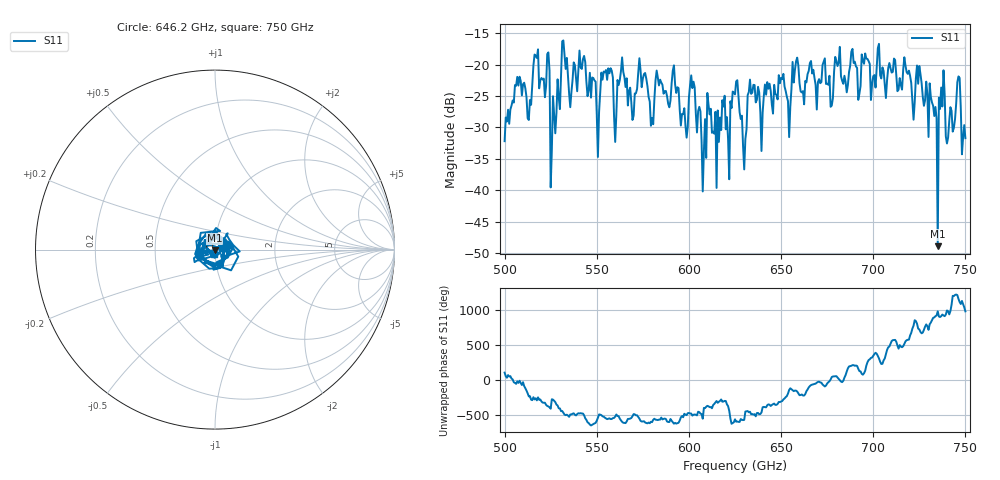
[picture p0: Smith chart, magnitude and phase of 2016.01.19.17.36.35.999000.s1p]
!Created with skrf (http://scikit-rf.org).
# GHz S RI R 50.0
!freq ReS11 ImS11
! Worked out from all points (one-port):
!   401 points, 500 GHz to 750 GHz, reference 50 ohm
!   lowest |S11| = -48.9 dB at 735 GHz (marker M1), VSWR 1.01, Z = 50 - j0.356 ohm
!   |S11| at or under -10 dB: start of sweep to end of sweep
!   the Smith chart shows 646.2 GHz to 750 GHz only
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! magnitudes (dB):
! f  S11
! 500 GHz  -32.2
! 506.9 GHz  -22.0
! 513.8 GHz  -25.6
! 516.9 GHz  -18.6
! 523.1 GHz  -18.3
! 526.2 GHz  -25.0
! 531.2 GHz  -16.3
! 541.9 GHz  -20.7
! 550.6 GHz  -34.7
! 562.5 GHz  -22.5
! 580 GHz  -28.5
! 593.8 GHz  -23.6
! 598.1 GHz  -29.7
! 601.9 GHz  -23.7
! 608.1 GHz  -33.8
! 611.2 GHz  -27.9
! 621.2 GHz  -31.9
! 625 GHz  -24.7
! 630 GHz  -36.7
! 634.4 GHz  -24.5
! 656.2 GHz  -19.6
! 687.5 GHz  -20.2
! 718.8 GHz  -21.5
! 735 GHz  -48.9
! 736.9 GHz  -23.7
! 740.6 GHz  -31.6
! 746.2 GHz  -21.9
! 750 GHz  -31.7
